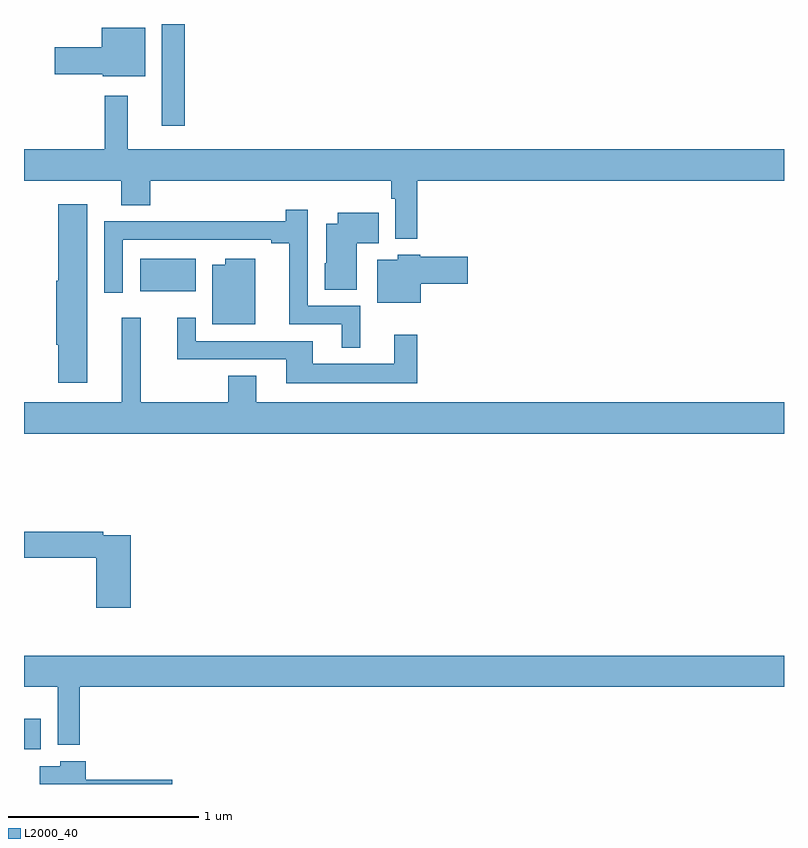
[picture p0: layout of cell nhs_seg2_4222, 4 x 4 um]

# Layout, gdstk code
import gdstk
lib = gdstk.Library(unit=1e-6, precision=1e-09)
def R(c, l, rs):  # rectangles x0, y0, x1, y1
    for r in rs: c.add(gdstk.rectangle(r[:2], r[2:], *l))
def P(c, l, *ps):  # polygons
    for p in ps: c.add(gdstk.Polygon(p, *l))
L2000_40 = (2000, 40)

nhs_seg2_4222 = lib.new_cell('nhs_seg2_4222')
R(nhs_seg2_4222, L2000_40, [(339,637.982,339.088,638.143), (339.611,640.394,339.904,640.564), (339.725,641.265,339.847,641.8)])
P(nhs_seg2_4222, L2000_40, [(339.637,641.779),(339.41,641.779),(339.41,641.678),(339.162,641.678),(339.162,641.536),(339.414,641.536),(339.414,641.525),(339.637,641.525)],
  [(341.069,640.976),(343,640.976),(343,641.14),(339.547,641.14),(339.547,641.422),(339.426,641.422),(339.426,641.14),(339,641.14),(339,640.976),(339.512,640.976),(339.512,640.846),(339.665,640.846),(339.665,640.976),(340.933,640.976),(340.933,640.88),(340.953,640.88),(340.953,640.67),(341.069,640.67)],
  [(339.334,640.852),(339.181,640.852),(339.181,640.449),(339.17,640.449),(339.17,640.113),(339.181,640.113),(339.181,639.912),(339.334,639.912)],
  [(340.771,640.317),(340.494,640.317),(340.494,640.822),(340.378,640.822),(340.378,640.763),(339.748,640.763),(339.748,640.761),(339.423,640.761),(339.423,640.386),(339.519,640.386),(339.519,640.665),(340.301,640.665),(340.301,640.645),(340.397,640.645),(340.397,640.221),(340.673,640.221),(340.673,640.097),(340.771,640.097)],
  [(340.75,640.646),(340.868,640.646),(340.868,640.807),(340.652,640.807),(340.652,640.75),(340.592,640.75),(340.592,640.542),(340.583,640.542),(340.583,640.402),(340.75,640.402)],
  [(341.089,640.433),(341.335,640.433),(341.335,640.575),(341.085,640.575),(341.085,640.585),(340.968,640.585),(340.968,640.558),(340.859,640.558),(340.859,640.334),(341.089,640.334)],
  [(340.216,640.564),(340.058,640.564),(340.058,640.534),(339.992,640.534),(339.992,640.22),(340.216,640.22)],
  [(343,639.808),(340.222,639.808),(340.222,639.95),(340.075,639.95),(340.075,639.808),(339.614,639.808),(339.614,640.255),(339.515,640.255),(339.515,639.808),(339,639.808),(339,639.644),(343,639.644)],
  [(341.071,640.165),(340.949,640.165),(340.949,640.012),(340.519,640.012),(340.519,640.131),(339.903,640.131),(339.903,640.255),(339.806,640.255),(339.806,640.035),(340.379,640.035),(340.379,639.908),(341.071,639.908)],
  [(339.563,639.108),(339.416,639.108),(339.416,639.128),(339,639.128),(339,638.992),(339.38,638.992),(339.38,638.727),(339.563,638.727)],
  [(339.293,638.312),(343,638.312),(343,638.476),(339,638.476),(339,638.312),(339.177,638.312),(339.177,638.006),(339.293,638.006)],
  [(339.781,637.823),(339.326,637.823),(339.326,637.921),(339.192,637.921),(339.192,637.894),(339.083,637.894),(339.083,637.8),(339.781,637.8)])

lib.write_gds('nhs_seg2_4222.gds')
